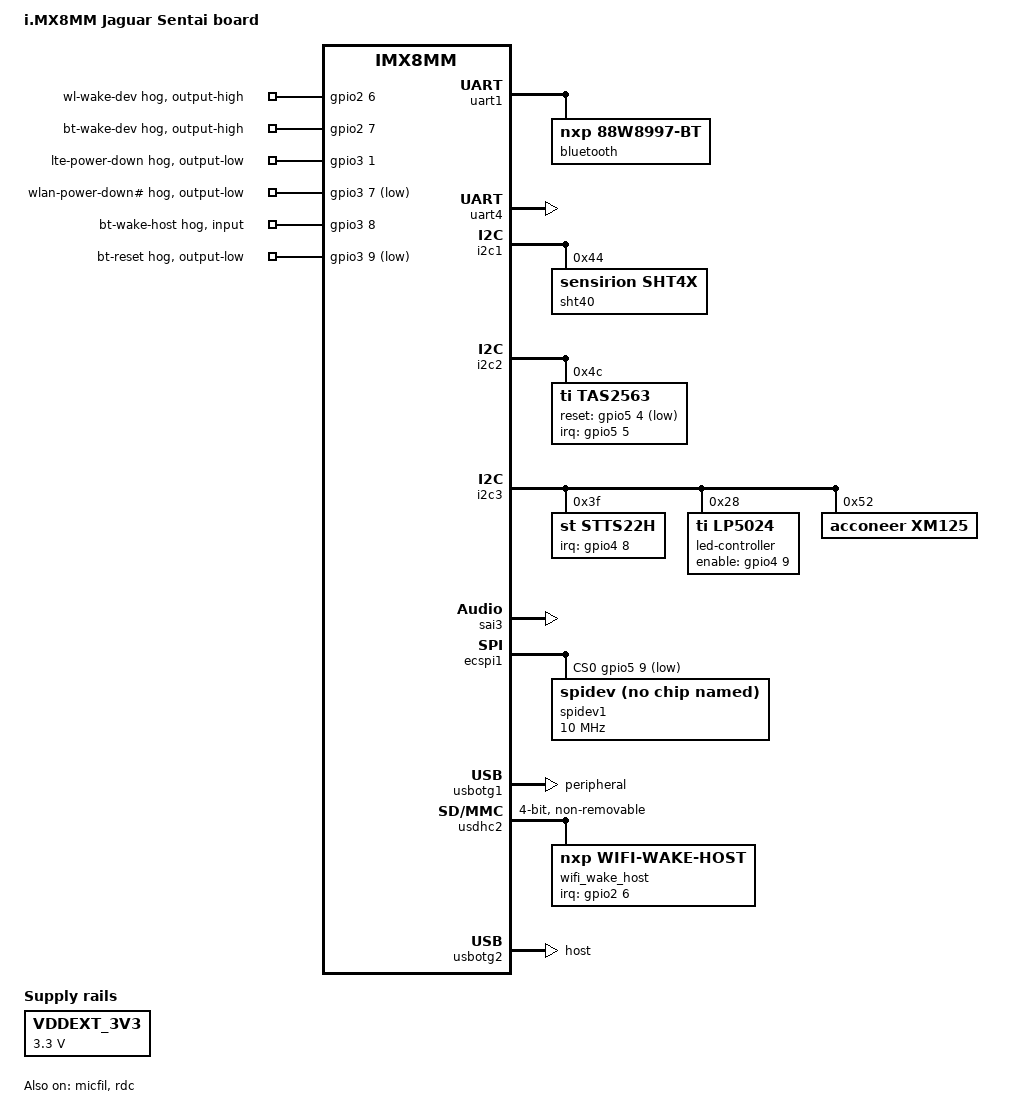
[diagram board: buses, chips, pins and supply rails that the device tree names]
// SPDX-License-Identifier: (GPL-2.0 OR MIT)
/*
 * Copyright 2020 NXP
 */

#include "freescale/imx8mm-evk.dts"
#include <dt-bindings/gpio/gpio.h>
#include <dt-bindings/leds/common.h>
#include <dt-bindings/input/input.h>
#include <dt-bindings/interrupt-controller/irq.h>
#include <dt-bindings/clock/imx8mm-clock.h>

/ {
        model = "i.MX8MM Jaguar Sentai board";
        compatible = "fsl,imx8mm-jaguar-sentai", "fsl,imx8mm-evk", "fsl,imx8mm";

	// Regulators
	regulator-vddext {
		compatible = "regulator-fixed";
		regulator-name = "VDDEXT_3V3";
		regulator-min-microvolt = <3300000>;
		regulator-max-microvolt = <3300000>;
	};

	sound-tas2563 {
                compatible = "simple-audio-card";
                simple-audio-card,name = "tas2563-audio";
                simple-audio-card,format = "i2s";
                simple-audio-card,frame-master = <&cpudai2>;
                simple-audio-card,bitclock-master = <&cpudai2>;

                simple-audio-card,widgets =
                        "Speaker", "Speaker";
                simple-audio-card,routing =
                        "Speaker", "OUT";

                cpudai2: simple-audio-card,cpu {
                        sound-dai = <&sai3>;
                };

                simple-audio-card,codec {
                        sound-dai = <&tas2563>;
                        clocks = <&clk IMX8MM_CLK_SAI3_ROOT>;
                };
        };

	// MICFIL Audio Configuration (for original PDM hardware)
	sound-micfil {
		compatible = "fsl,imx-audio-card";
		model = "micfil-audio";
		status = "okay"; /* Controlled by runtime detection */
		pri-dai-link {
			link-name = "micfil hifi";
			format = "i2s";
			cpu {
				sound-dai = <&micfil>;
			};
		};
	};

	sound-wm8524 {
		status = "disabled";
	};

	sound-ak4458 {
		status = "disabled";
	};

	sound-spdif {
		status = "disabled";
	};

	sound-bt-sco {
		status = "disabled";
	};

	// Disable M4 core to prevent resource conflicts
	imx8mm-cm4 {
		compatible = "fsl,imx8mm-cm4";
		status = "disabled";
	};

	// RDC configuration for UART4 resource assignment
	// This ensures UART4 is properly assigned to A53 domain before UART driver probes
	rdc: rdc@303d0000 {
		compatible = "fsl,imx8mm-rdc";
		reg = <0x0 0x303d0000 0x0 0x10000>;
		status = "okay";
		
		// Configure UART4 for A53 domain (domain 0) access
		// This must complete before serial driver initialization
		fsl,rdc-config = <
			0x44  0x3  // UART4 PDAP: Domain 0 (A53) read/write access
		>;
	};

	sw-keys {
                compatible = "gpio-keys";
		status = "enabled";

                sw1: key-act {
                        label = "Key Act";
                        linux,code = <BTN_SELECT>;
                        gpios = <&gpio3 6 (GPIO_ACTIVE_LOW | GPIO_PULL_UP)>;
			interrupt-parent = <&gpio3>;
			interrupt = <6 IRQ_TYPE_EDGE_FALLING>;
                };
	};
};

&iomuxc {
        pinctrl-names = "default";
	pinctrl-0 = <&pinctrl_hog>;

	// TODO: Break these out better?
	pinctrl_hog: hoggrp {
		fsl,pins = <
			MX8MM_IOMUXC_SD1_DATA4_GPIO2_IO6	0x140  // WL_WAKE_DEV
			MX8MM_IOMUXC_SD1_DATA5_GPIO2_IO7	0x140  // BT_WAKE_DEV
			MX8MM_IOMUXC_SD1_DATA6_GPIO2_IO8	0x000  // LTE_RESET
			MX8MM_IOMUXC_NAND_CE0_B_GPIO3_IO1	0x140  // FUL_CARD_POWER_OFF#
                        MX8MM_IOMUXC_NAND_DATA01_GPIO3_IO7      0x140  // WIFI_PD#
			MX8MM_IOMUXC_NAND_DATA02_GPIO3_IO8	0x140  // BT_WAKE_HOST
                        MX8MM_IOMUXC_NAND_DATA03_GPIO3_IO9      0x140  // BT_RST#
			MX8MM_IOMUXC_SAI1_RXD4_GPIO4_IO6	0x140  // SLMB_0
                        MX8MM_IOMUXC_SAI1_RXD7_GPIO4_IO9        0x140  // LED_ENABLE
                        MX8MM_IOMUXC_SAI1_TXFS_GPIO4_IO10       0x140  // CODEC_IRQ#
                        MX8MM_IOMUXC_SPDIF_RX_GPIO5_IO4         0x140  // CODEC_SD#
			// ZB_INT and ZB_RST# removed from hog - managed by ZBoss muxer
		>;
	};

	// Zigbee GPIO pins - not hogged, available for ZBoss muxer
	pinctrl_zigbee: zigbeegrp {
		fsl,pins = <
			MX8MM_IOMUXC_SAI2_RXC_GPIO4_IO22        0x140  // ZB_INT
			MX8MM_IOMUXC_SD1_STROBE_GPIO2_IO11      0x140  // ZB_RST#
		>;
	};

        pinctrl_ecspi1: ecspi1grp {
                fsl,pins = <
			MX8MM_IOMUXC_ECSPI1_SS0_GPIO5_IO9	0x140  // Increased drive strength
                        MX8MM_IOMUXC_ECSPI1_SCLK_ECSPI1_SCLK	0x140  // Increased drive strength
                        MX8MM_IOMUXC_ECSPI1_MISO_ECSPI1_MISO	0x140  // Increased drive strength
                        MX8MM_IOMUXC_ECSPI1_MOSI_ECSPI1_MOSI	0x140  // Increased drive strength
                >;
        };

        /* XM125 radar GPIO pin configuration - replaces BGT radar */
        /* WARNING: This disables BGT 60TR13C radar support for XM125 testing */
        pinctrl_xm125_radar: xm125_radar_grp {
                fsl,pins = <
                        /* Bootloader control (BOOT0) - repurpose ECSPI2_SS0 as GPIO */
                        MX8MM_IOMUXC_ECSPI2_SS0_GPIO5_IO13      0x96
                        /* Reset control (active-low) - same pin as BGT radar reset */
                        MX8MM_IOMUXC_SAI3_RXFS_GPIO4_IO28       0x96
                        /* Wake up control (assert high to wake up) - repurpose ECSPI2_MOSI */
                        MX8MM_IOMUXC_ECSPI2_MOSI_GPIO5_IO11     0x96
                        /* MCU interrupt input - repurpose SAI3_RXC */
                        MX8MM_IOMUXC_SAI3_RXC_GPIO4_IO29        0x96
                        /* Disable unused SPI pins - hardware team feedback: 
                         * SCLK and MISO just go to test points on radar board, not used by XM125 */
                        MX8MM_IOMUXC_ECSPI2_SCLK_GPIO5_IO10     0x96
                        MX8MM_IOMUXC_ECSPI2_MISO_GPIO5_IO12     0x96
                >;
        };

	pinctrl_pdm: pdmgrp {
		fsl,pins = <
			MX8MM_IOMUXC_SAI1_MCLK_PDM_CLK		0xd6
			MX8MM_IOMUXC_SAI1_RXD0_PDM_DATA0	0xd6
			MX8MM_IOMUXC_SAI1_RXD1_PDM_DATA1	0xd6
			MX8MM_IOMUXC_SAI1_RXD2_PDM_DATA2	0xd6
			MX8MM_IOMUXC_SAI1_RXD3_PDM_DATA3	0xd6
		>;
	};

        pinctrl_sai2: sai2grp {
                fsl,pins = <
                        MX8MM_IOMUXC_SAI2_MCLK_SAI2_MCLK        0xd6
                        MX8MM_IOMUXC_SAI2_TXFS_SAI2_TX_SYNC     0xd6
                        MX8MM_IOMUXC_SAI2_TXC_SAI2_TX_BCLK      0xd6
                        MX8MM_IOMUXC_SAI2_TXD0_SAI2_TX_DATA0    0xd6
                        MX8MM_IOMUXC_SAI2_RXD0_SAI2_RX_DATA0    0xd6
                >;
        };

        pinctrl_sai3: sai3grp {
                fsl,pins = <
                        MX8MM_IOMUXC_SAI3_TXFS_SAI3_TX_SYNC     0xd6    // Frame sync
                        MX8MM_IOMUXC_SAI3_TXC_SAI3_TX_BCLK      0xd6    // Bit clock
                        MX8MM_IOMUXC_SAI3_MCLK_SAI3_MCLK        0xd6    // Master clock
                        MX8MM_IOMUXC_SAI3_TXD_SAI3_TX_DATA0     0xd6    // Transmit (playback)
                        MX8MM_IOMUXC_SAI3_RXD_SAI3_RX_DATA0     0xd6    // Receive (from TAS2563 mics)
                        MX8MM_IOMUXC_SPDIF_EXT_CLK_GPIO5_IO5    0xd6    // Audio codec interrupt
                >;
        };

        pinctrl_uart1: uart1grp {
                fsl,pins = <
                        MX8MM_IOMUXC_UART1_RXD_UART1_DCE_RX     0x140
                        MX8MM_IOMUXC_UART1_TXD_UART1_DCE_TX     0x140
                        MX8MM_IOMUXC_UART3_TXD_UART1_DCE_RTS_B  0x140
                        MX8MM_IOMUXC_UART3_RXD_UART1_DCE_CTS_B  0x140
                >;
        };

        pinctrl_uart4: uart4grp {
                fsl,pins = <
                        MX8MM_IOMUXC_UART4_RXD_UART4_DCE_RX     0x140
                        MX8MM_IOMUXC_UART4_TXD_UART4_DCE_TX     0x140
                >;
        };

        pinctrl_usdhc2: usdhc2grp {
                fsl,pins = <
                        MX8MM_IOMUXC_SD2_CLK_USDHC2_CLK         0x190
                        MX8MM_IOMUXC_SD2_CMD_USDHC2_CMD         0x1d0
                        MX8MM_IOMUXC_SD2_DATA0_USDHC2_DATA0     0x1d0
                        MX8MM_IOMUXC_SD2_DATA1_USDHC2_DATA1     0x1d0
                        MX8MM_IOMUXC_SD2_DATA2_USDHC2_DATA2     0x1d0
                        MX8MM_IOMUXC_SD2_DATA3_USDHC2_DATA3     0x1d0
                >;
        };

        pinctrl_usdhc2_100mhz: usdhc2-100mhzgrp {
                fsl,pins = <
                        MX8MM_IOMUXC_SD2_CLK_USDHC2_CLK         0x194
                        MX8MM_IOMUXC_SD2_CMD_USDHC2_CMD         0x1d4
                        MX8MM_IOMUXC_SD2_DATA0_USDHC2_DATA0     0x1d4
                        MX8MM_IOMUXC_SD2_DATA1_USDHC2_DATA1     0x1d4
                        MX8MM_IOMUXC_SD2_DATA2_USDHC2_DATA2     0x1d4
                        MX8MM_IOMUXC_SD2_DATA3_USDHC2_DATA3     0x1d4
                >;
        };

        pinctrl_usdhc2_200mhz: usdhc2-200mhzgrp {
                fsl,pins = <
                        MX8MM_IOMUXC_SD2_CLK_USDHC2_CLK         0x196
                        MX8MM_IOMUXC_SD2_CMD_USDHC2_CMD         0x1d6
                        MX8MM_IOMUXC_SD2_DATA0_USDHC2_DATA0     0x1d6
                        MX8MM_IOMUXC_SD2_DATA1_USDHC2_DATA1     0x1d6
                        MX8MM_IOMUXC_SD2_DATA2_USDHC2_DATA2     0x1d6
                        MX8MM_IOMUXC_SD2_DATA3_USDHC2_DATA3     0x1d6
                >;
        };
};

&uart1 { /* BT */
        pinctrl-names = "default";
        pinctrl-0 = <&pinctrl_uart1>;
        assigned-clocks = <&clk IMX8MM_CLK_UART1>;
        assigned-clock-parents = <&clk IMX8MM_SYS_PLL1_80M>;
        fsl,uart-has-rtscts;
        status = "okay";

        bluetooth {
                compatible = "nxp,88w8997-bt";
		fw-init-baudrate = <3000000>;
        };
};

&uart3 {
	status = "disabled";
};

&uart4 {
	pinctrl-names = "default";
	pinctrl-0 = <&pinctrl_uart4>;
	status = "okay";  /* Safe to enable - RDC assignment handled by U-Boot before kernel boot */
	
	// UART4 RDC assignment is now handled by U-Boot bootcmd before kernel starts
	// This prevents the synchronous external abort during early boot
	fsl,rdc-domain = <0>;  // Assign to A53 domain
};

&gpio2 {
	wl-wake-dev-hog {
		gpio-hog;
		gpios = <6 GPIO_ACTIVE_HIGH>;
		output-high;
		line-name = "wl-wake-dev";
	};
	bt-wake-dev-hog {
		gpio-hog;
		gpios = <7 GPIO_ACTIVE_HIGH>;
		output-high;
		line-name = "bt-wake-dev";
	};
//        zb-reset-hog {
//                gpio-hog;
//                gpios = <11 GPIO_ACTIVE_LOW>;
//                output-low;
//                line-name = "zb-reset";
//        };
};

&gpio3 {
	lte-power-down-hog {
		gpio-hog;
		gpios = <1 GPIO_ACTIVE_HIGH>;
		output-low;
		line-name = "lte-power-down";
	};

	wlan-power-down-hog {
		gpio-hog;
		gpios = <7 GPIO_ACTIVE_LOW>;
		output-low;
		line-name = "wlan-power-down#";
	};
	bt-wake-host-hog {
		gpio-hog;
		gpios = <8 GPIO_ACTIVE_HIGH>;
		input;
		line-name = "bt-wake-host";
	};
	bt-reset-hog {
		gpio-hog;
		gpios = <9 GPIO_ACTIVE_LOW>;
		output-low;
		line-name = "bt-reset";
	};
};

//&gpio4 {
//       zb-int-hog {
//		gpio-hog;
//		gpios = <22 GPIO_ACTIVE_HIGH>;
//		input;
//		line-name = "zb-int";
//       };
//};

// Reset/shutdown GPIO is owned by the TAS2781 driver via tas2563 reset-gpios.
// Do not gpio-hog this line: output-low holds the amp in shutdown (no audio).

&fec1 {
        status = "disabled";
};

&i2c1 {
	sht40: sht40@44 {
		compatible = "sensirion,sht4x";
                reg = <0x44>;
		status = "okay";
	};
};

&i2c2 {
        ptn5110: tcpc@50 {
                status = "disabled";
	};

	// Audio Amp with Dual Hardware Support
        tas2563: tas2563@4C {
                #sound-dai-cells = <0>;
                compatible = "ti,tas2563";
                reg = <0x4C>;
                ti,channels = <1>;
                reset-gpios = <&gpio5 4 GPIO_ACTIVE_LOW>;
                interrupt-parent = <&gpio5>;
                interrupts = <5 IRQ_TYPE_LEVEL_LOW>;

                ti,asi-format = <0>; /* 0=I2S, 1=DSP/TDM */
                ti,left-slot = <0>;
                ti,right-slot = <1>;

                status = "okay";
        };
};

&i2c3 {
	stts22h: stts22h@3F {
		compatible = "st,stts22h";
                reg = <0x3f>;
//		sampling-rate = <STTS22H_100Hz>;
		status = "okay";
		interrupt-parent = <&gpio4>;
		interrupts = <8 IRQ_TYPE_LEVEL_HIGH>;
	};

	led-controller@28 {
            #address-cells = <1>;
            #size-cells = <0>;
            compatible = "ti,lp5024";
            reg = <0x28>;
            enable-gpios = <&gpio4 9 GPIO_ACTIVE_HIGH>;

            multi-led@0 {
                #address-cells = <1>;
                #size-cells = <0>;
		label = "led5";
                reg = <0>;
//                default-intensity = <100 0 0>;
                color = <LED_COLOR_ID_RGB>;
                function = LED_FUNCTION_INDICATOR;
                led@0 {
                     reg = <0>;
                     color = <LED_COLOR_ID_RED>;
                };

                led@1 {
                     reg = <1>;
                     color = <LED_COLOR_ID_GREEN>;
                };

                led@2 {
                     reg = <2>;
                     color = <LED_COLOR_ID_BLUE>;
                };
            };

            multi-led@1 {
                #address-cells = <1>;
                #size-cells = <0>;
		label = "led1";
                reg = <1>;
//                default-intensity = <100 0 0>;
                color = <LED_COLOR_ID_RGB>;
                function = LED_FUNCTION_INDICATOR;
                led@0 {
                     reg = <12>;
                     color = <LED_COLOR_ID_RED>;
                };

                led@1 {
                     reg = <13>;
                     color = <LED_COLOR_ID_GREEN>;
                };

                led@2 {
                     reg = <14>;
                     color = <LED_COLOR_ID_BLUE>;
                };
            };

	    multi-led@2 {
                #address-cells = <1>;
                #size-cells = <0>;
		label = "led2";
                reg = <2>;
//                default-intensity = <100 0 0>;
                color = <LED_COLOR_ID_RGB>;
                function = LED_FUNCTION_INDICATOR;
                led@0 {
                     reg = <15>;
                     color = <LED_COLOR_ID_RED>;
                };

                led@1 {
                     reg = <16>;
                     color = <LED_COLOR_ID_GREEN>;
                };

                led@2 {
                     reg = <17>;
                     color = <LED_COLOR_ID_BLUE>;
                };
            };

            multi-led@3 {
                #address-cells = <1>;
                #size-cells = <0>;
		label = "led3";
                reg = <3>;
//                default-intensity = <100 0 0>;
                color = <LED_COLOR_ID_RGB>;
                function = LED_FUNCTION_INDICATOR;
                led@0 {
                     reg = <3>;
                     color = <LED_COLOR_ID_RED>;
                };

                led@1 {
                     reg = <4>;
                     color = <LED_COLOR_ID_GREEN>;
                };

                led@2 {
                     reg = <5>;
                     color = <LED_COLOR_ID_BLUE>;
                };
            };

            multi-led@4 {
                #address-cells = <1>;
                #size-cells = <0>;
		label = "led4";
                reg = <4>;
//                default-intensity = <100 0 0>;
                color = <LED_COLOR_ID_RGB>;
                function = LED_FUNCTION_INDICATOR;
                led@0 {
                     reg = <6>;
                     color = <LED_COLOR_ID_RED>;
                };

                led@1 {
                     reg = <7>;
                     color = <LED_COLOR_ID_GREEN>;
                };

                led@2 {
                     reg = <8>;
                     color = <LED_COLOR_ID_BLUE>;
                };
            };

            multi-led@5 {
                #address-cells = <1>;
                #size-cells = <0>;
		label = "led0";
                reg = <5>;
//                default-intensity = <100 0 0>;
                color = <LED_COLOR_ID_RGB>;
                function = LED_FUNCTION_INDICATOR;
                led@0 {
                     reg = <9>;
                     color = <LED_COLOR_ID_RED>;
                };

                led@1 {
                     reg = <10>;
                     color = <LED_COLOR_ID_GREEN>;
                };

                led@2 {
                     reg = <11>;
                     color = <LED_COLOR_ID_BLUE>;
                };
            };
        };

	ov5640_mipi: ov5640_mipi@3c {
		status = "disabled";
	};

	pca6416: gpio@20 {
		status = "disabled";
	};

        ak4458_1: ak4458@10 {
		status = "disabled";
	};

        ak4458_2: ak4458@12 {
		status = "disabled";
	};

        ak5558: ak5558@13 {
		status = "disabled";
	};

        ak4497: ak4497@11 {
		status = "disabled";
	};

        /* XM125 Acconeer radar module - I2C communication */
        /* WARNING: This replaces BGT 60TR13C radar for XM125 testing */
        xm125: xm125@52 {
                compatible = "acconeer,xm125";
                reg = <0x52>;
                pinctrl-names = "default";
                pinctrl-0 = <&pinctrl_xm125_radar>;
                status = "okay";
                
                /* GPIO control lines - configured as GPIOs via libgpiod from userspace */
                /* BOOT0: GPIO5_IO13 (was ECSPI2_SS0) */
                /* RESET: GPIO4_IO28 (SAI3_RXFS) - active low */
                /* WAKE:  GPIO5_IO11 (was ECSPI2_MOSI) - assert high to wake */
                /* IRQ:   GPIO4_IO29 (SAI3_RXC) - interrupt from XM125 */
        };

};

&sai1 {
	status = "disabled"; /* Disabled to avoid pin conflicts with TAS2563 audio */
};

// MICFIL for original hardware PDM microphones
&micfil {
	pinctrl-names = "default";
	pinctrl-0 = <&pinctrl_pdm>;
	assigned-clocks = <&clk IMX8MM_CLK_PDM>;
	assigned-clock-parents = <&clk IMX8MM_AUDIO_PLL1_OUT>;
	assigned-clock-rates = <49152000>;
	status = "okay"; /* Both hardware variants - runtime managed */
};

// Enhanced SAI3 configuration for bidirectional audio (Profile 8 echo reference)
&sai3 {
	pinctrl-names = "default";
	pinctrl-0 = <&pinctrl_sai3>;
	assigned-clocks = <&clk IMX8MM_CLK_SAI3>;
	assigned-clock-parents = <&clk IMX8MM_AUDIO_PLL1_OUT>;
	assigned-clock-rates = <12288000>;
	fsl,sai-mclk-direction-output;
	fsl,sai-synchronous-rx;  /* RX uses TX clocks for synchronized operation */
	#sound-dai-cells = <0>;
	status = "okay";
};

&mipi_dsi {
       status = "disabled";
};

&spdif1 {
       status = "disabled";
};

&pcie0 {
       status = "disabled";
};

// 802.15.4
&ecspi1 {
	#address-cells = <1>;
	#size-cells = <0>;
	pinctrl-names = "default";
	pinctrl-0 = <&pinctrl_ecspi1>, <&pinctrl_zigbee>;
	cs-gpios = <&gpio5 9 GPIO_ACTIVE_LOW>;
        fsl,spi-num-chipselects = <1>;
        // Force PIO mode by removing DMA properties entirely
        /delete-property/ dmas;
        /delete-property/ dma-names;
        // Increase timeout for SPI transfers
        fsl,spi-rdy-drctl = <0>;
        // Re-enable burst mode - zb_mux expects 16-byte offset
        // fsl,spi-disable-burst;
	status = "okay";

        spidev1: spi@0 {
		compatible = "rohm,dh2228fv";
                spi-max-frequency = <10000000>; // 10MHz - maximum radio spec limit
                spi-mode = <0>;                 // SPI Mode 0 (CPOL=0, CPHA=0)
                reg = <0>;
        };
};

// XM125 Acconeer radar module (replaces BGT 60TR13C)
// WARNING: This disables BGT 60TR13C radar support for XM125 testing
&ecspi2 {
	status = "disabled";  /* Disabled for XM125 - uses I2C instead of SPI */
	/delete-property/ pinctrl-names;
	/delete-property/ pinctrl-0;
};

&flexspi {
	status = "disabled";
};

// USB-C port - Device mode (STUSB4500 UFP, no PTN5110 role switching)
&usbotg1 {
	dr_mode = "peripheral";
        status = "okay";
};

// WiFi SDIO Interface - IW612 module with power management
&usdhc2 {
	pinctrl-names = "default", "state_100mhz", "state_200mhz";
	pinctrl-0 = <&pinctrl_usdhc2>;
	pinctrl-1 = <&pinctrl_usdhc2_100mhz>;
	pinctrl-2 = <&pinctrl_usdhc2_200mhz>;
	bus-width = <4>;
	keep-power-in-suspend;
	non-removable;
	wakeup-source;
	max-frequency = <100000000>;
	fsl,sdio-async-interrupt-enabled;
	pm-ignore-notify;
	cap-power-off-card;
	status = "okay";

	wifi_wake_host {
		compatible = "nxp,wifi-wake-host";
		interrupt-parent = <&gpio2>;
		interrupts = <6 IRQ_TYPE_LEVEL_LOW>;  /* WL_WAKE_DEV GPIO */
		interrupt-names = "host-wake";
		wakeup-source;
	};
};

// Cellular modem
&usbotg2 {
	dr_mode = "host";
        status = "okay";
};
